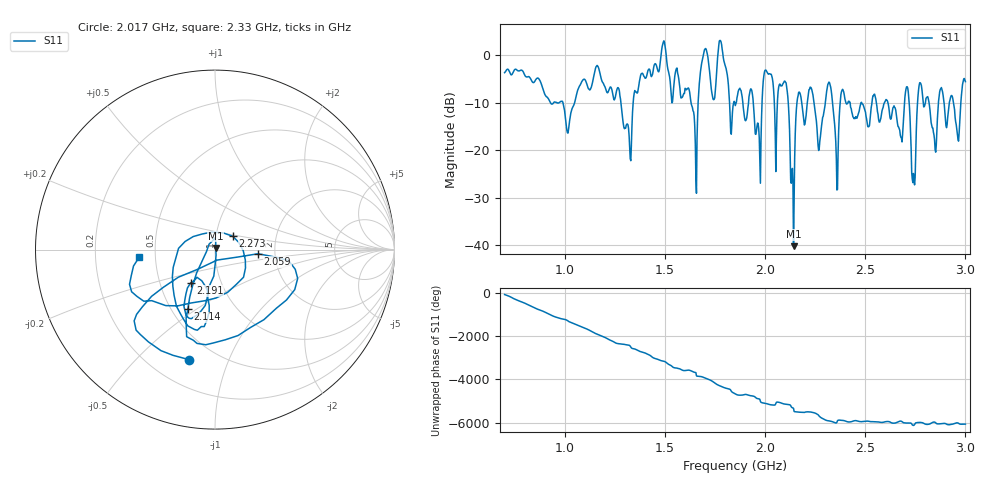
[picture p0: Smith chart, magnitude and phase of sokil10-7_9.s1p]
# HZ S RI R 50
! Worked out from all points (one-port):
!   808 points, 700 MHz to 3 GHz, reference 50 ohm
!   lowest |S11| = -40.2 dB at 2.142 GHz (marker M1), VSWR 1.02, Z = 50.4 + j0.886 ohm
!   |S11| at or under -10 dB: 991.2 MHz to 1.049 GHz (58.16 MHz wide, 5.7 % of centre); 1.281 GHz to 1.342 GHz (61.11 MHz wide, 4.66 % of centre); 2.613 GHz to 2.696 GHz (82.57 MHz wide, 3.11 % of centre)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
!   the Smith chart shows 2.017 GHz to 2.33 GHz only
!   S11 on the Smith chart (normalised r, x): 2.017 GHz: 0.36, -0.73; 2.059 GHz: 1.63, -0.08; 2.114 GHz: 0.60, -0.46; 2.191 GHz: 0.71, -0.28; 2.273 GHz: 1.20, +0.18; 2.33 GHz: 0.40, -0.04
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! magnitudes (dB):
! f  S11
! 700 MHz  -3.7
! 987.9 MHz  -9.7
! 1.276 GHz  -8.6
! 1.324 GHz  -19.3
! 1.492 GHz  2.8
! 1.564 GHz  -3.8
! 1.652 GHz  -18.6
! 1.7 GHz  1.3
! 1.851 GHz  -10.6
! 1.968 GHz  -15.4
! 2.017 GHz  -4.0
! 2.059 GHz  -12.4
! 2.114 GHz  -8.7
! 2.139 GHz  -26.9
! 2.142 GHz  -40.2
! 2.165 GHz  -8.5
! 2.191 GHz  -12.7
! 2.273 GHz  -18.2
! 2.33 GHz  -7.4
! 2.356 GHz  -21.9
! 2.384 GHz  -7.4
! 2.427 GHz  -11.0
! 2.715 GHz  -7.8
! 2.741 GHz  -24.9
! 2.772 GHz  -5.8
! 2.846 GHz  -17.8
! 2.963 GHz  -17.7
! 3 GHz  -5.6
